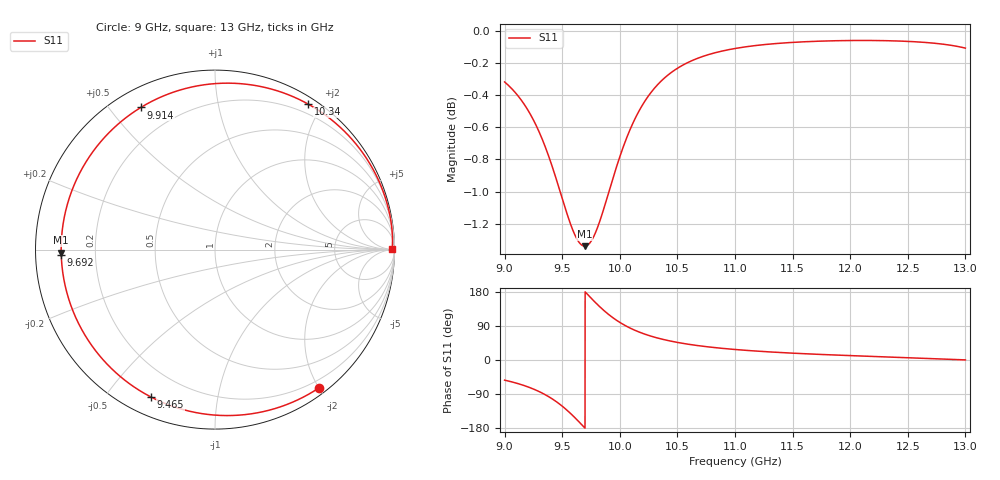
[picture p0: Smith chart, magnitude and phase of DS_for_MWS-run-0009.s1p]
! TOUCHSTONE file generated by CST DESIGN STUDIO
! Date and time: Tue Feb  4 18:10:24 2025
! Project name: C:\Work\MatlabApps\UnitCellOptimizationMatlab\CST\unitcell.cst
! Tree item: Tasks\Sweep1\SPara1\S-Parameters
! Header version: 2024
! Port assignment regex: !\s*Touchstone port\s*([0-9]+)\s*=\s*(CST MWS port|CST DES external port|CST DES block port)\s*(.+)\s* \(\"(.*)\"\)(\s*mode\s*([0-9]+))?.*
! Touchstone port assignment:
! Touchstone port 1 = CST DES external port 1 ("")
# GHz S MA R 50
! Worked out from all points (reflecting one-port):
!   4001 points, 9 GHz to 13 GHz, reference 50 ohm
!   lowest |S11| = -1.3 dB at 9.695 GHz (marker M1), VSWR 13.01, Z = 3.84 - j0.471 ohm
!   phase of S11 starts at -53 deg and turns -307 deg over the sweep
!   S11 on the Smith chart (normalised r, x): 9 GHz: 0.09, -2.00; 9.465 GHz: 0.08, -0.65; 9.692 GHz: 0.08, -0.02; 9.914 GHz: 0.08, +0.60; 10.34 GHz: 0.08, +1.83; 13 GHz: open
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9  0.9639 -53.1
9.124  0.9537 -63.0
9.242  0.9393 -75.6
9.367  0.9174 -94.0
9.418  0.9063 -103.5
9.465  0.8954 -113.5
9.5  0.887 -121.8
9.553  0.8749 -135.6
9.608  0.8645 -151.5
9.651  0.8592 -164.8
9.692  0.8572 -177.9
9.695  0.8572 -178.9
9.741  0.8593 166.3
9.789  0.8656 151.4
9.852  0.8783 133.3
9.914  0.8933 117.5
10  0.9138 99.2
10.073  0.9288 86.7
10.161  0.9433 74.6
10.245  0.954 65.4
10.337  0.9628 57.2
10.5  0.9734 46.4
10.719  0.9816 36.4
11  0.9872 27.7
11.5  0.9916 18.0
12  0.9929 11.6
12.5  0.9923 6.3
13  0.9875 0.2
